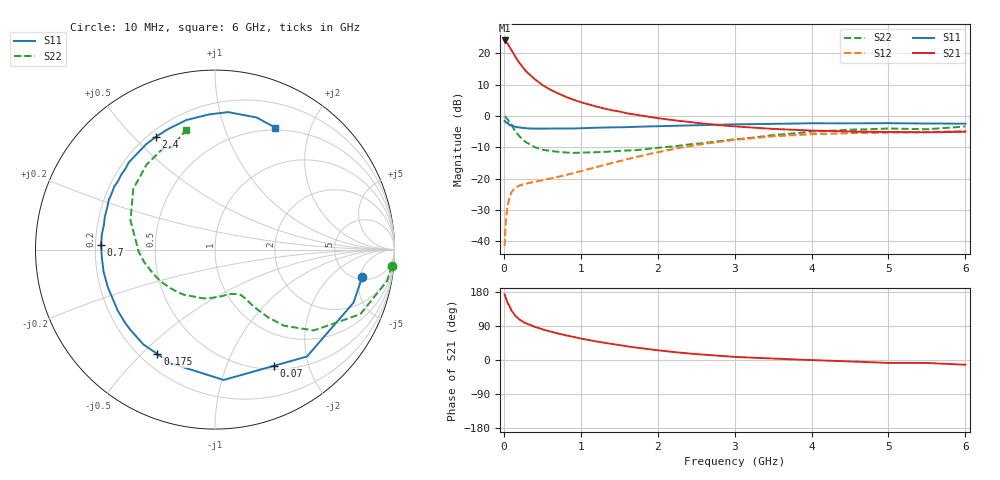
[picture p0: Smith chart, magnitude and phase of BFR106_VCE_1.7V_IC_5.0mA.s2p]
! Infineon Technologies  Discrete & RF Semiconductors
! BFR106
! VCE =  1.7 V,  IC =  5.0 mA
! Common Emitter S-Parameters:  Nov 2015
# GHz  S  MA  R  50
!  f  S11  S21  S12  S22
! GHz  MAG  ANG  MAG  ANG  MAG  ANG  MAG  ANG
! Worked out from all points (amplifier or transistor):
!   210 points, 10 MHz to 6 GHz, reference 50 ohm
!   highest |S21| = 24.1 dB at 10 MHz (marker M1)
!   |S21| within 3 dB of that: start of sweep to 98.03 MHz
!   unconditionally stable (mu >= 1): 606.3 MHz to 2.289 GHz; 4.096 GHz to end of sweep
!   at 185 MHz: K = 0.39, MSG = 20.0 dB, |S12| = -22.4 dB
!   at 1.52 GHz: K = 1.15, MAG = 5.5 dB, |S12| = -14.3 dB
!   at 6 GHz: K = 1.03, MAG = -1.1 dB, |S12| = -4.8 dB
!   S11 on the Smith chart (normalised r, x): 10 MHz: 5.38, -5.48; 70 MHz: 0.54, -1.49; 175 MHz: 0.27, -0.56; 700 MHz: 0.22, +0.02; 2.4 GHz: 0.23, +0.58; 6 GHz: 0.47, +1.50
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0.01  0.8341 -10.7  16.11 172.9  0.0084 86.8  0.9896 -5.2
0.02  0.8263 -21.0  15.88 167.5  0.0165 80.1  0.9742 -10.4
0.05  0.7857 -49.3  14.29 150.1  0.0384 64.8  0.8858 -24.0
0.07  0.7256 -63.2  12.93 143.2  0.0472 57.2  0.8092 -29.3
0.1  0.7279 -86.2  11.32 130.1  0.0613 50.1  0.7109 -39.3
0.15  0.6792 -111.0  8.82 116.0  0.0717 41.2  0.5714 -47.9
0.175  0.6641 -118.9  7.96 112.1  0.0747 39.3  0.5254 -49.7
0.2  0.6622 -127.1  7.145 107.3  0.0778 37.5  0.48 -51.9
0.24  0.6495 -136.7  6.139 102.0  0.0808 35.8  0.4275 -53.9
0.3  0.6398 -147.9  5.033 95.4  0.0842 35.0  0.3751 -56.1
0.4  0.6329 -160.7  3.886 87.5  0.0895 35.7  0.3194 -58.3
0.5  0.6329 -168.9  3.14 80.8  0.0942 37.8  0.2908 -60.3
0.6  0.6322 -176.4  2.654 75.1  0.1006 40.5  0.2784 -62.9
0.7  0.6352 177.5  2.315 69.8  0.1067 43.2  0.2697 -66.6
1.02  0.6411 162.3  1.64 56.0  0.1342 50.7  0.2615 -79.1
1.4  0.6621 148.1  1.241 42.5  0.1773 55.1  0.2742 -97.4
2.02  0.6894 128.3  0.921 25.2  0.2683 53.4  0.3128 -130.2
2.4  0.7097 117.5  0.809 17.1  0.3296 48.8  0.3526 -150.3
3.1  0.7406 100.4  0.672 7.3  0.4288 36.3  0.4356 176.7
4.1  0.7682 83.2  0.584 -0.9  0.518 18.0  0.5721 140.4
5.1  0.7692 71.5  0.557 -7.7  0.5473 3.5  0.6301 116.6
6  0.7576 63.7  0.563 -12.5  0.5776 -6.4  0.6836 103.8
